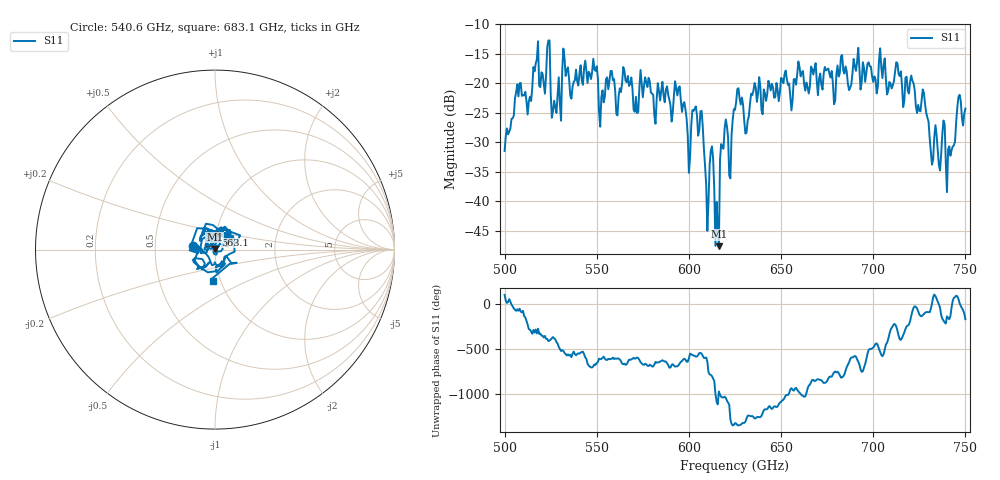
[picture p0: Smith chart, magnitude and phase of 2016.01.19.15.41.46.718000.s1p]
!Created with skrf (http://scikit-rf.org).
# GHz S RI R 50.0
!freq ReS11 ImS11
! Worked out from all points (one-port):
!   401 points, 500 GHz to 750 GHz, reference 50 ohm
!   lowest |S11| = -47.6 dB at 616.2 GHz (marker M1), VSWR 1.01, Z = 49.9 + j0.394 ohm
!   |S11| at or under -10 dB: start of sweep to end of sweep
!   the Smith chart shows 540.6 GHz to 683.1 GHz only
!   S11 on the Smith chart (normalised r, x): 540.6 GHz: 0.79, +0.03; 563.1 GHz: 1.00, +0.17; 683.1 GHz: 0.92, -0.33
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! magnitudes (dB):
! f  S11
! 500 GHz  -31.5
! 507.5 GHz  -22.3
! 513.8 GHz  -22.3
! 516.9 GHz  -16.7
! 523.8 GHz  -12.8
! 526.9 GHz  -23.0
! 531.2 GHz  -17.9
! 540.6 GHz  -18.3
! 562.5 GHz  -20.9
! 563.1 GHz  -21.5
! 593.8 GHz  -22.1
! 600 GHz  -35.2
! 603.1 GHz  -24.4
! 606.9 GHz  -24.7
! 609.4 GHz  -37.2
! 612.5 GHz  -30.7
! 615 GHz  -40.1
! 616.2 GHz  -47.6
! 618.8 GHz  -31.1
! 622.5 GHz  -36.1
! 625 GHz  -24.5
! 656.2 GHz  -22.8
! 683.1 GHz  -15.2
! 687.5 GHz  -20.8
! 718.8 GHz  -21.3
! 740.6 GHz  -31.2
! 746.2 GHz  -22.3
! 750 GHz  -24.3
